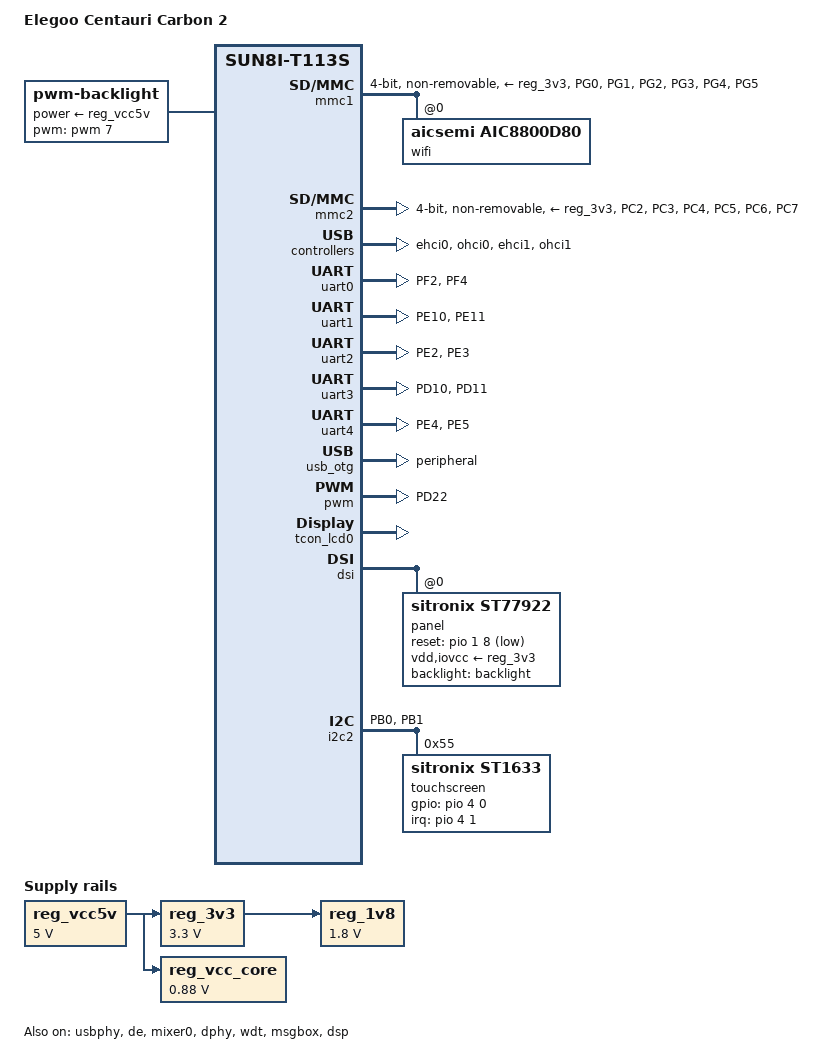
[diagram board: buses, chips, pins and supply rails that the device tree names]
// SPDX-License-Identifier: (GPL-2.0+ OR MIT)
// Copyright (C) 2026 James Turton.

/dts-v1/;

#include <dt-bindings/gpio/gpio.h>
#include <dt-bindings/interrupt-controller/irq.h>
#include "sun8i-t113s.dtsi"

/ {
	model = "Elegoo Centauri Carbon 2";
	compatible = "elegoo,centauri-carbon2", "allwinner,sun8i-t113s";

	aliases {
		serial0 = &uart0;
		serial1 = &uart1;
		serial2 = &uart2;
		serial3 = &uart3;
		serial4 = &uart4;
		i2c2 = &i2c2;
	};

	chosen {
		stdout-path = "serial2:115200n8";
	};

	/* board wide 5V supply directly from the USB-C socket */
	reg_vcc5v: regulator-5v {
		compatible = "regulator-fixed";
		regulator-name = "vcc-5v";
		regulator-min-microvolt = <5000000>;
		regulator-max-microvolt = <5000000>;
		regulator-always-on;
	};

	/* SY8008 DC/DC regulator on the board */
	reg_3v3: regulator-3v3 {
		compatible = "regulator-fixed";
		regulator-name = "vcc-3v3";
		regulator-min-microvolt = <3300000>;
		regulator-max-microvolt = <3300000>;
		vin-supply = <&reg_vcc5v>;
	};

	reg_1v8: regulator-1v8 {
		compatible = "regulator-fixed";
		regulator-name = "vcc-1v8";
		regulator-min-microvolt = <1800000>;
		regulator-max-microvolt = <1800000>;
		regulator-always-on;
		vin-supply = <&reg_3v3>;
	};

	/* SY8008 DC/DC regulator on the board, also supplying VDD-SYS */
	reg_vcc_core: regulator-core {
		compatible = "regulator-fixed";
		regulator-name = "vcc-core";
		regulator-min-microvolt = <880000>;
		regulator-max-microvolt = <880000>;
		vin-supply = <&reg_vcc5v>;
	};

	backlight: backlight {
		compatible = "pwm-backlight";
		pwms = <&pwm 7 20000 0>;
		brightness-levels = <0 16 32 64 128 255>;
		num-interpolated-steps = <20>;
		default-brightness-level = <100>;
		power-supply = <&reg_vcc5v>;
	};

	reserved-memory {
		#address-cells = <1>;
		#size-cells = <1>;
		ranges;

		/*
		 * Reserve memory for the DSP firmware.
		 * Adjust base and size to match your firmware's linker script.
		 * This region must not overlap with Linux kernel memory.
		 *
		 * Common configurations:
		 *   - SRAM only (small firmware): use the DSP SRAM region
		 *   - DDR carveout (large firmware): reserve a DDR region
		 */
		dsp_reserved: dsp@42000000 {
			reg = <0x42000000 0x00100000>; /* 1 MiB example */
			no-map;
		};

		/*
		 * Shared memory for RPMsg virtio vrings and buffers.
		 * This must be accessible by both ARM and DSP.
		 */
		vdev0buffer: vdev0buffer@42100000 {
			compatible = "shared-dma-pool";
			reg = <0x42100000 0x40000>; /* 256 KiB */
			no-map;
		};

		vdev0vring0: vdev0vring0@42140000 {
			reg = <0x42140000 0x2000>; /* 8 KiB */
			no-map;
		};

		vdev0vring1: vdev0vring1@42142000 {
			reg = <0x42142000 0x2000>; /* 8 KiB */
			no-map;
		};
	};

	soc {
		msgbox: mailbox@3003000 {
			compatible = "allwinner,sunxi-r528-msgbox";
			reg = <0x03003000 0x1000>,  /* ARM CPUX_MSGBOX (local/RX) */
			      <0x01701000 0x1000>;  /* DSP_MSGBOX (remote/TX) */
			reg-names = "local", "remote";
			clocks = <&ccu CLK_BUS_MSGBOX0>;
			resets = <&ccu RST_BUS_MSGBOX0>;
			interrupts = <SOC_PERIPHERAL_IRQ(0) IRQ_TYPE_LEVEL_HIGH>;
			#mbox-cells = <1>;
			status = "okay";
		};

		dsp: dsp@1700000 {
			compatible = "allwinner,sunxi-r528-hifi4-rproc";
			reg = <0x01700000 0x100>;
			reg-names = "cfg";

			allwinner,sram = <&syscon>;

			clocks = <&ccu CLK_DSP>,
			         <&ccu CLK_BUS_DSP_CFG>;
			clock-names = "dsp", "cfg";

			resets = <&ccu RST_DSP>,
			         <&ccu RST_BUS_DSP_CFG>,
			         <&ccu RST_BUS_DSP_DBG>;
			reset-names = "dsp", "cfg", "dbg";

			/*
			 * Mailbox channels:
			 *   Channel 0 = RX from DSP (MSGBOX channels 0-3)
			 *   Channel 4 = TX to DSP   (MSGBOX channels 4-7)
			 */
			mboxes = <&msgbox 0>,  /* RX: DSP -> ARM */
			         <&msgbox 4>;  /* TX: ARM -> DSP */
			mbox-names = "rx", "tx";

			memory-region = <&dsp_reserved>,
			                <&vdev0buffer>,
			                <&vdev0vring0>,
			                <&vdev0vring1>;

			/*
			 * Firmware file loaded from /lib/firmware/.
			 * Can be overridden at runtime via:
			 *   echo my_fw.elf > /sys/class/remoteproc/remoteproc0/firmware
			 */
			firmware-name = "dsp0.elf";

			status = "okay";
		};
	};
};

&cpu0 {
	cpu-supply = <&reg_vcc_core>;
};

&cpu1 {
	cpu-supply = <&reg_vcc_core>;
};

&dcxo {
	clock-frequency = <24000000>;
};

&mmc1 {
	pinctrl-0 = <&mmc1_pins>;
	pinctrl-names = "default";
	vmmc-supply = <&reg_3v3>;
	vqmmc-supply = <&reg_1v8>;
	bus-width = <4>;
	non-removable;
	broken-cd;
	cap-sd-highspeed;
	no-sd;
	no-mmc;
	cap-sdio-irq;
	max-frequency = <150000000>;
	status = "okay";

	wifi@0 {
		reg = <0>;
		compatible = "aicsemi,aic8800d80";
	};
};

&mmc2 {
	pinctrl-0 = <&mmc2_pins>;
	pinctrl-names = "default";
	vmmc-supply = <&reg_3v3>;
	vqmmc-supply = <&reg_1v8>;
	cap-mmc-highspeed;
	mmc-hs200-1_8v;
	non-removable;
	cap-mmc-hw-reset;
	bus-width = <4>;
	max-frequency = <150000000>;
	status = "okay";
};

&ehci0 {
	status = "okay";
};

&ohci0 {
	status = "okay";
};

&ehci1 {
	status = "okay";
};

&ohci1 {
	status = "okay";
};

&pio {
	vcc-pb-supply = <&reg_3v3>;
	vcc-pc-supply = <&reg_1v8>;
	vcc-pd-supply = <&reg_3v3>;
	vcc-pe-supply = <&reg_3v3>;
	vcc-pf-supply = <&reg_3v3>;
	vcc-pg-supply = <&reg_3v3>;

	uart0_pf_pins: uart0-pf-pins {
		pins = "PF2", "PF4";
		function = "uart0";
	};

	uart1_pe_pins: uart1-pe-pins {
		pins = "PE10", "PE11";
		function = "uart1";
	};

	uart2_pe_pins: uart2-pe-pins {
		pins = "PE2", "PE3";
		function = "uart2";
	};

	uart3_pd_pins: uart3-pd-pins {
		pins = "PD10", "PD11";
		function = "uart3";
	};

	uart4_pe_pins: uart4-pe-pins {
		pins = "PE4", "PE5";
		function = "uart4";
	};

	pwm7_pd22_pin: pwm7-pd22-pin {
		pins = "PD22";
		function = "pwm7";
	};

	i2c2_pins: i2c2-pins {
		pins = "PB0", "PB1";
		function = "i2c2";
	};

	mmc1_pins: mmc1-pins {
		pins = "PG0", "PG1", "PG2", "PG3", "PG4", "PG5";
		function = "mmc1";
	};

	mmc2_pins: mmc2-pins {
		pins = "PC2", "PC3", "PC4", "PC5", "PC6", "PC7";
		function = "mmc2";
	};
};

&uart0 {
	pinctrl-names = "default";
	pinctrl-0 = <&uart0_pf_pins>;
	status = "okay";
};

&uart1 {
	pinctrl-names = "default";
	pinctrl-0 = <&uart1_pe_pins>;
	status = "okay";
};

&uart2 {
	pinctrl-names = "default";
	pinctrl-0 = <&uart2_pe_pins>;
	status = "okay";
};

&uart3 {
	pinctrl-names = "default";
	pinctrl-0 = <&uart3_pd_pins>;
	status = "okay";
};

&uart4 {
	pinctrl-names = "default";
	pinctrl-0 = <&uart4_pe_pins>;
	status = "okay";
};

/* The USB-C socket has its CC pins pulled to GND, so is hardwired as a UFP. */
&usb_otg {
	dr_mode = "peripheral";
	status = "okay";
};

&usbphy {
	usb1_vbus-supply = <&reg_vcc5v>;
	status = "okay";
};


&pwm {
	pinctrl-names = "default";
	pinctrl-0 = <&pwm7_pd22_pin>;
	status = "okay";
};

&de {
	status = "okay";
};

&mixer0 {
	status = "okay";
};

&tcon_lcd0 {
	status = "okay";
};

&dphy {
	status = "okay";
};

&dsi {
	status = "okay";

	panel@0 {
		compatible = "sitronix,st77922";
		reg = <0>;
		reset-gpios = <&pio 1 8 GPIO_ACTIVE_LOW>;	/* PB8, reset active-low */
		vdd-supply = <&reg_3v3>;
		iovcc-supply = <&reg_3v3>;
		backlight = <&backlight>;
	};
};

&syscon {
	compatible = "allwinner,sun20i-d1-system-control",
		"syscon";
};

&i2c2 {
	status = "okay";
	pinctrl-names = "default";
	pinctrl-0 = <&i2c2_pins>;

	touchscreen@55 {
		compatible = "sitronix,st1633";	/* TODO: confirm st1633 vs st1232 */
		reg = <0x55>;
		interrupt-parent = <&pio>;
		interrupts = <4 1 IRQ_TYPE_LEVEL_LOW>; /* INT (PE1) */
		gpios = <&pio 4 0 GPIO_ACTIVE_HIGH>; /* RST (PE0) */
	};
};

&wdt {
	status = "okay";
};
